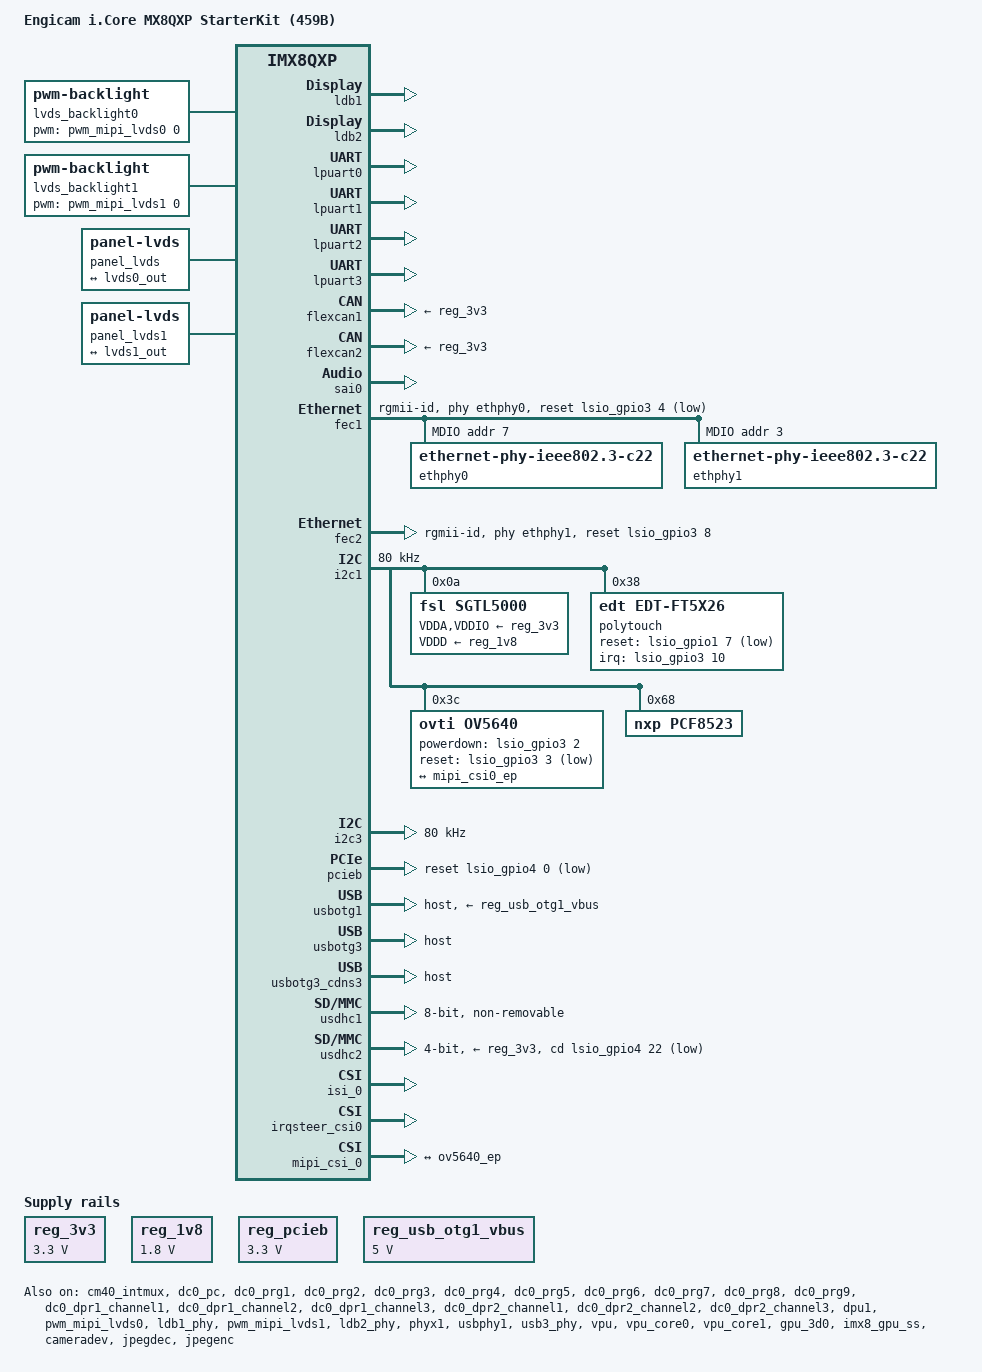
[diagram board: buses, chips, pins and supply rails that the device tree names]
// SPDX-License-Identifier: GPL-2.0+
/*
 * Copyright 2017-2020 NXP
 */

/dts-v1/;

#include "../freescale/imx8qxp.dtsi"
#include <dt-bindings/usb/pd.h>

/ {

	model = "Engicam i.Core MX8QXP StarterKit (459B)";
	compatible = "fsl,imx8qxp";

	chosen {
		stdout-path = &lpuart0;
	};

	lvds_backlight0: lvds_backlight@0 {
		compatible = "pwm-backlight";
		pwms = <&pwm_mipi_lvds0 0 100000 0>;

		brightness-levels = < 0  1  2  3  4  5  6  7  8  9
				     10 11 12 13 14 15 16 17 18 19
				     20 21 22 23 24 25 26 27 28 29
				     30 31 32 33 34 35 36 37 38 39
				     40 41 42 43 44 45 46 47 48 49
				     50 51 52 53 54 55 56 57 58 59
				     60 61 62 63 64 65 66 67 68 69
				     70 71 72 73 74 75 76 77 78 79
				     80 81 82 83 84 85 86 87 88 89
				     90 91 92 93 94 95 96 97 98 99
				    100>;
		default-brightness-level = <80>;
	};

	lvds_backlight1: lvds_backlight@1 {
		compatible = "pwm-backlight";
		pwms = <&pwm_mipi_lvds1 0 100000 0>;

		brightness-levels = < 0  1  2  3  4  5  6  7  8  9
				     10 11 12 13 14 15 16 17 18 19
				     20 21 22 23 24 25 26 27 28 29
				     30 31 32 33 34 35 36 37 38 39
				     40 41 42 43 44 45 46 47 48 49
				     50 51 52 53 54 55 56 57 58 59
				     60 61 62 63 64 65 66 67 68 69
				     70 71 72 73 74 75 76 77 78 79
				     80 81 82 83 84 85 86 87 88 89
				     90 91 92 93 94 95 96 97 98 99
				    100>;
		default-brightness-level = <80>;
	};

	/*memory@80000000 {
		device_type = "memory";
		reg = <0x00000000 0x80000000 0 0x40000000>;
	};*/


	reserved-memory {
		#address-cells = <2>;
		#size-cells = <2>;
		ranges;

		decoder_boot: decoder-boot@84000000 {
			reg = <0 0x84000000 0 0x2000000>;
			no-map;
		};

		encoder_boot: encoder-boot@86000000 {
			reg = <0 0x86000000 0 0x200000>;
			no-map;
		};

		decoder_rpc: decoder-rpc@92000000 {
			reg = <0 0x92000000 0 0x100000>;
			no-map;
		};

		encoder_rpc: encoder_reserved@94400000 {
			no-map;
			reg = <0 0x94400000 0 0x700000>;
		};
		/* global autoconfigured region for contiguous allocations */
		linux,cma {
			compatible = "shared-dma-pool";
			reusable;
			size = <0 0x3c000000>;
			alloc-ranges = <0 0x96000000 0 0x3c000000>;
			linux,cma-default;
		};
	};

	reg_3v3: regulator-3v3 {
		compatible = "regulator-fixed";
		regulator-name = "3v3";
		regulator-min-microvolt = <3300000>;
		regulator-max-microvolt = <3300000>;
		regulator-always-on;
	};

	reg_1v8: regulator-1v8 {
		compatible = "regulator-fixed";
		regulator-name = "1v8";
		regulator-min-microvolt = <1800000>;
		regulator-max-microvolt = <1800000>;
		regulator-always-on;
	};

	reg_pcieb: regulator-pcie {
		compatible = "regulator-fixed";
		regulator-name = "mpcie_3v3";
		regulator-min-microvolt = <3300000>;
		regulator-max-microvolt = <3300000>;
		enable-active-high;
		regulator-always-on;
	};

	reg_usb_otg1_vbus: regulator-usbotg1-vbus {
		compatible = "regulator-fixed";
		regulator-name = "usb_otg1_vbus";
		regulator-min-microvolt = <5000000>;
		regulator-max-microvolt = <5000000>;
		regulator-always-on;
	};

	sound {
		compatible = "simple-audio-card";
		simple-audio-card,name = "imx8qxp-sgtl5000";
		simple-audio-card,format = "i2s";
		simple-audio-card,bitclock-master = <&dailink_master>;
		simple-audio-card,frame-master = <&dailink_master>;
		simple-audio-card,cpu {
			sound-dai = <&sai0>;
		};

		dailink_master: simple-audio-card,codec {
		    sound-dai = <&sgtl5000>;
			clocks = <&mclkout0_lpcg 0>;
		};
	};

	imx8x_cm4: imx8x_cm4@0 {
		compatible = "fsl,imx8qxp-cm4";
		rsc-da = <0x90000000>;
		mbox-names = "tx", "rx", "rxdb";
		mboxes = <&lsio_mu5 0 1
			  &lsio_mu5 1 1
			  &lsio_mu5 3 1>;
		mub-partition = <3>;
		memory-region = <&vdev0vring0>, <&vdev0vring1>, <&vdevbuffer>,
				<&vdev1vring0>, <&vdev1vring1>;
		core-index = <0>;
		core-id = <IMX_SC_R_M4_0_PID0>;
		status = "okay";
		power-domains = <&pd IMX_SC_R_M4_0_PID0>,
				<&pd IMX_SC_R_M4_0_MU_1A>;
	};

	panel_lvds: panel-lvds {
		compatible = "panel-lvds";

		width-mm = <210>;
		height-mm = <158>;
		data-mapping = "vesa-24";
		status = "okay";

		panel-timing {
			/* 1024x600 @65Hz */
			clock-frequency = <65000000>;
			hactive = <1024>;
			vactive = <600>;
			hsync-len = <136>;
			hfront-porch = <20>;
			hback-porch = <160>;
			vfront-porch = <3>;
			vback-porch = <29>;
			vsync-len = <6>;
		};

		port {
			panel_in_lvds: endpoint {
				remote-endpoint = <&lvds0_out>;
			};
		};
	};

	panel_lvds1: panel-lvds1 {
		compatible = "panel-lvds";

		width-mm = <210>;
		height-mm = <158>;
		data-mapping = "jeida-24";
		status = "okay";

		panel-timing {
			/* 1024x800 @65Hz */
			clock-frequency = <65000000>;
			hactive = <1024>;
			vactive = <800>;
			hsync-len = <136>;
			hfront-porch = <20>;
			hback-porch = <160>;
			vfront-porch = <3>;
			vback-porch = <29>;
			vsync-len = <6>;
		};

		port {
			panel_in_lvds1: endpoint {
				remote-endpoint = <&lvds1_out>;
			};
		};
	};

	reserved-memory {
		#address-cells = <2>;
		#size-cells = <2>;
		ranges;

		vdev0vring0: vdev0vring0@90000000 {
                        compatible = "shared-dma-pool";
			reg = <0 0x90000000 0 0x8000>;
			no-map;
		};

		vdev0vring1: vdev0vring1@90008000 {
                        compatible = "shared-dma-pool";
			reg = <0 0x90008000 0 0x8000>;
			no-map;
		};

		vdev1vring0: vdev1vring0@90010000 {
                        compatible = "shared-dma-pool";
			reg = <0 0x90010000 0 0x8000>;
			no-map;
		};

		vdev1vring1: vdev1vring1@90018000 {
                        compatible = "shared-dma-pool";
			reg = <0 0x90018000 0 0x8000>;
			no-map;
		};

		vdevbuffer: vdevbuffer {
                        compatible = "shared-dma-pool";
			reg = <0 0x90400000 0 0x100000>;
			no-map;
		};
	};

};

&cm40_intmux {
	status = "okay";
};

&dc0_pc {
	status = "okay";
};

&dc0_prg1 {
	status = "okay";
};

&dc0_prg2 {
	status = "okay";

};

&dc0_prg3 {
	status = "okay";
};

&dc0_prg4 {
	status = "okay";
};

&dc0_prg5 {
	status = "okay";
};

&dc0_prg6 {
	status = "okay";
};

&dc0_prg7 {
	status = "okay";
};

&dc0_prg8 {
	status = "okay";
};

&dc0_prg9 {
	status = "okay";
};

&dc0_dpr1_channel1 {
	status = "okay";
};

&dc0_dpr1_channel2 {
	status = "okay";
};

&dc0_dpr1_channel3 {
	status = "okay";
};

&dc0_dpr2_channel1 {
	status = "okay";
};

&dc0_dpr2_channel2 {
	status = "okay";
};

&dc0_dpr2_channel3 {
	status = "okay";
};

&dpu1 {
	status = "okay";
};

&pwm_mipi_lvds0 {
	pinctrl-names = "default";
	pinctrl-0 = <&pinctrl_pwm_mipi_lvds0>;
	status = "okay";
};

&ldb1_phy {
	status = "okay";
};

&ldb1 {
	status = "okay";
	pinctrl-assert-gpios = <&lsio_gpio1 27 GPIO_ACTIVE_HIGH>;

	lvds-channel@0 {
		fsl,data-mapping = "spwg";
		fsl,data-width = <24>;
		status = "okay";

		port@1 {
			reg = <1>;

			lvds0_out: endpoint {
				remote-endpoint = <&panel_in_lvds>;
			};
		};
	};

};

&pwm_mipi_lvds1 {
	pinctrl-names = "default";
	pinctrl-0 = <&pinctrl_pwm_mipi_lvds1>;
	status = "okay";
};

&ldb2_phy {
	status = "okay";
};

&ldb2 {
	status = "okay";
	pinctrl-assert-gpios = <&lsio_gpio1 31 GPIO_ACTIVE_HIGH>;


	lvds-channel@0 {
		fsl,data-mapping = "jeida";
		fsl,data-width = <24>;
		status = "okay";

		port@1 {
			reg = <1>;

			lvds1_out: endpoint {
				remote-endpoint = <&panel_in_lvds1>;
			};
		};
	};
};

&lpuart0 {
	pinctrl-names = "default";
	pinctrl-0 = <&pinctrl_lpuart0>;
	status = "okay";
};

&lpuart1 {
	pinctrl-names = "default";
	pinctrl-0 = <&pinctrl_lpuart1>;
	fsl,uart-has-rtscts;
	rs485-rts-active-low;
	linux,rs485-enabled-at-boot-time;
	status = "okay";
};

&lpuart2 {
	pinctrl-names = "default";
	pinctrl-0 = <&pinctrl_lpuart2>;
	status = "okay";
};

&lpuart3 {
	pinctrl-names = "default";
	pinctrl-0 = <&pinctrl_lpuart3>;
	status = "okay";
};

&flexcan1 {
	pinctrl-names = "default";
	pinctrl-0 = <&pinctrl_flexcan1>;
	xceiver-supply = <&reg_3v3>;
	status = "okay";
};

&flexcan2 {
	pinctrl-names = "default";
	pinctrl-0 = <&pinctrl_flexcan2>;
	xceiver-supply = <&reg_3v3>;
	status = "okay";
};

&sai0 {
	#sound-dai-cells = <0>;
	assigned-clocks = <&clk IMX_SC_R_AUDIO_PLL_0 IMX_SC_PM_CLK_PLL>,
			<&clk IMX_SC_R_AUDIO_PLL_0 IMX_SC_PM_CLK_SLV_BUS>,
			<&clk IMX_SC_R_AUDIO_PLL_0 IMX_SC_PM_CLK_MST_BUS>,
			<&sai0_lpcg 0>;
	assigned-clock-rates = <786432000>, <49152000>, <12288000>, <49152000>;
	pinctrl-names = "default";
	pinctrl-0 = <&pinctrl_sai0>;
	status = "okay";
};

&fec1 {
	pinctrl-names = "default";
	pinctrl-0 = <&pinctrl_fec1>;
	phy-mode = "rgmii-id";
	phy-handle = <&ethphy0>;
	reset-gpio = <&lsio_gpio3 4 GPIO_ACTIVE_LOW>;
	status = "okay";

	mdio {
		#address-cells = <1>;
		#size-cells = <0>;

		ethphy0: ethernet-phy@7 {
			compatible = "ethernet-phy-ieee802.3-c22";
			reg = <7>;
			status = "okay";
			max-speed = <100>;
		};

		ethphy1: ethernet-phy@3 {
			compatible = "ethernet-phy-ieee802.3-c22";
			reg = <3>;
			status = "okay";
		};
	};
};

&fec2 {
	pinctrl-names = "default";
	pinctrl-0 = <&pinctrl_fec2>;
	phy-mode = "rgmii-id";
	phy-handle = <&ethphy1>;
	reset-gpio = <&lsio_gpio3 8 GPIO_ACTIVE_HIGH>;
	status = "okay";
};

&i2c1 {
	#address-cells = <1>;
	#size-cells = <0>;
	clock-frequency = <80000>;
	pinctrl-names = "default";
	pinctrl-0 = <&pinctrl_lpi2c1>;
	status = "okay";

	sgtl5000: codec@a {
		compatible = "fsl,sgtl5000";
		status = "okay";
		#sound-dai-cells = <0>;
		reg = <0x0a>;
		clocks = <&mclkout0_lpcg 0>;
		clock-names = "mclk";
		assigned-clocks = <&clk IMX_SC_R_AUDIO_PLL_0 IMX_SC_PM_CLK_PLL>,
				<&clk IMX_SC_R_AUDIO_PLL_0 IMX_SC_PM_CLK_SLV_BUS>,
				<&clk IMX_SC_R_AUDIO_PLL_0 IMX_SC_PM_CLK_MST_BUS>,
				<&mclkout0_lpcg 0>;
		assigned-clock-rates = <786432000>, <49152000>, <12288000>, <12288000>;
		VDDA-supply = <&reg_3v3>;
		VDDIO-supply = <&reg_3v3>;
		VDDD-supply = <&reg_1v8>;
	};

	polytouch: edt-ft5x26@38 {
		compatible = "edt,edt-ft5x26";
		reg = <0x38>;
		pinctrl-names = "default";
		pinctrl-0 = <&pinctrl_touch1>;
		interrupt-parent = <&lsio_gpio3>;
		interrupts = <10 IRQ_TYPE_EDGE_FALLING>;
		reset-gpios= <&lsio_gpio1 7 GPIO_ACTIVE_LOW>;
	};

	ov5640: ov5640@3c {
		compatible = "ovti,ov5640";
		reg = <0x3c>;
		pinctrl-names = "default";
		pinctrl-0 = <&pinctrl_mipi_csi0>;
		clocks = <&pi0_misc_lpcg 0>;
		assigned-clocks = <&pi0_misc_lpcg 0>;
		assigned-clock-rates = <24000000>;
		clock-names = "xclk";
		csi_id = <0>;
		powerdown-gpios = <&lsio_gpio3 2 GPIO_ACTIVE_HIGH>;
		reset-gpios = <&lsio_gpio3 3 GPIO_ACTIVE_LOW>;
		mclk = <24000000>;
		mclk_source = <0>;
		mipi_csi;
		status = "okay";

		port {
			ov5640_ep: endpoint {
				remote-endpoint = <&mipi_csi0_ep>;
				data-lanes = <1 2>;
				clock-lanes = <0>;
			};
		};
	};

	pcf8523: rtc@68 {
		compatible = "nxp,pcf8523";
		reg = <0x68>;
	};
};

&i2c3 {
	#address-cells = <1>;
	#size-cells = <0>;
	clock-frequency = <80000>;
	pinctrl-names = "default";
	pinctrl-0 = <&pinctrl_lpi2c3>;
	status = "okay";
};

&phyx1 {
	fsl,refclk-pad-mode = <IMX8_PCIE_REFCLK_PAD_INPUT>;
	status = "okay";
};

&pcieb {
	pinctrl-names = "default";
	pinctrl-0 = <&pinctrl_pcieb>;
	reset-gpio = <&lsio_gpio4 0 GPIO_ACTIVE_LOW>;
	vpcie-supply = <&reg_pcieb>;
	status = "okay";
};

&usbphy1 {
	status = "okay";
};

&usbotg1 {
	vbus-supply = <&reg_usb_otg1_vbus>;
	pinctrl-assert-gpios = <&lsio_gpio3 21 GPIO_ACTIVE_HIGH>; /* TBD da sistemare MM */
	srp-disable;
	hnp-disable;
	adp-disable;
	power-active-high;
	disable-over-current;
	dr_mode = "host";
	status = "okay";
};

&usb3_phy {
	status = "okay";
};

&usbotg3 {
	dr_mode = "host";
	status = "okay";
};

&usbotg3_cdns3 {
	dr_mode = "host";
	status = "okay";
};

&usdhc1 {
	pinctrl-names = "default", "state_100mhz", "state_200mhz";
	pinctrl-0 = <&pinctrl_usdhc1>;
	pinctrl-1 = <&pinctrl_usdhc1_100mhz>;
	pinctrl-2 = <&pinctrl_usdhc1_200mhz>;
	bus-width = <8>;
	no-sd;
	no-sdio;
	non-removable;
	status = "okay";
};

&usdhc2 {
	pinctrl-names = "default", "state_100mhz", "state_200mhz";
	pinctrl-0 = <&pinctrl_usdhc2>, <&pinctrl_usdhc2_gpio>;
	pinctrl-1 = <&pinctrl_usdhc2>, <&pinctrl_usdhc2_gpio>;
	pinctrl-2 = <&pinctrl_usdhc2>, <&pinctrl_usdhc2_gpio>;
	bus-width = <4>;
	vmmc-supply = <&reg_3v3>;
	no-1-8-v;
	cd-gpios = <&lsio_gpio4 22 GPIO_ACTIVE_LOW>;
	status = "okay";
};

&vpu {
	compatible = "nxp,imx8qxp-vpu";
	status = "okay";
};

&vpu_core0 {
	reg = <0x2d040000 0x10000>;
	memory-region = <&decoder_boot>, <&decoder_rpc>;
	status = "okay";
};

&vpu_core1 {
	reg = <0x2d050000 0x10000>;
	memory-region = <&encoder_boot>, <&encoder_rpc>;
	status = "okay";
};

&gpu_3d0 {
	status = "okay";
};

&imx8_gpu_ss {
	status = "okay";
};

&isi_0 {
	status = "okay";

	cap_device {
		status = "okay";
	};

	m2m_device {
		status = "okay";
	};
};

&irqsteer_csi0 {
	status = "okay";
};


&mipi_csi_0 {
	#address-cells = <1>;
	#size-cells = <0>;
	/delete-property/virtual-channel;
	status = "okay";

	/* Camera 0  MIPI CSI-2 (CSIS0) */
	port@0 {
		reg = <0>;
		mipi_csi0_ep: endpoint {
			remote-endpoint = <&ov5640_ep>;
			data-lanes = <1 2>;
		};
	};
};

&cameradev {
	status = "okay";
};

&jpegdec {
	status = "okay";
};

&jpegenc {
	status = "okay";
};

/*&thermal_zones {
	pmic-thermal0 {
		polling-delay-passive = <250>;
		polling-delay = <2000>;
		thermal-sensors = <&tsens 497>;
		trips {
			pmic_alert0: trip0 {
				temperature = <110000>;
				hysteresis = <2000>;
				type = "passive";
			};
			pmic_crit0: trip1 {
				temperature = <125000>;
				hysteresis = <2000>;
				type = "critical";
			};
		};
		cooling-maps {
			map0 {
				trip = <&pmic_alert0>;
				cooling-device =
					<&A35_0 THERMAL_NO_LIMIT THERMAL_NO_LIMIT>,
					<&A35_1 THERMAL_NO_LIMIT THERMAL_NO_LIMIT>,
					<&A35_2 THERMAL_NO_LIMIT THERMAL_NO_LIMIT>,
					<&A35_3 THERMAL_NO_LIMIT THERMAL_NO_LIMIT>;
			};
		};
	};
};*/

&iomuxc {
	pinctrl-names = "default";
	pinctrl-0 = <&pinctrl_hog>;

	pinctrl_hog: hoggrp {
		fsl,pins = <
			IMX8QXP_MCLK_OUT0_ADMA_ACM_MCLK_OUT0       0x0600004c
			IMX8QXP_COMP_CTL_GPIO_1V8_3V3_GPIORHB_PAD  0x000514a0
			IMX8QXP_MIPI_CSI0_GPIO0_00_LSIO_GPIO3_IO08 0x06000020 /* TDB MM RGMII2 reset */
			IMX8QXP_QSPI0B_DATA3_LSIO_GPIO3_IO21 0x06000020 /* TDB MM USB HUB reset */
		>;
	};

	pinctrl_touch1: touch1_intgrp {
		fsl,pins = <
			IMX8QXP_QSPI0A_DATA1_LSIO_GPIO3_IO10	0x06000020
			IMX8QXP_SPI0_CS1_LSIO_GPIO1_IO07 		0x06000020
		>;
	};

	pinctrl_fec1: fec1grp {
		fsl,pins = <
			IMX8QXP_COMP_CTL_GPIO_1V8_3V3_ENET_ENETB0_PAD		0x000014a0
			IMX8QXP_COMP_CTL_GPIO_1V8_3V3_ENET_ENETB1_PAD		0x000014a0
			IMX8QXP_ENET0_MDC_CONN_ENET0_MDC			0x06000020
			IMX8QXP_ENET0_MDIO_CONN_ENET0_MDIO			0x06000020
			IMX8QXP_ENET0_RGMII_TX_CTL_CONN_ENET0_RGMII_TX_CTL	0x00000061
			IMX8QXP_ENET0_RGMII_TXC_CONN_ENET0_RGMII_TXC		0x00000061
			IMX8QXP_ENET0_RGMII_TXD0_CONN_ENET0_RGMII_TXD0		0x00000061
			IMX8QXP_ENET0_RGMII_TXD1_CONN_ENET0_RGMII_TXD1		0x00000061
			IMX8QXP_ENET0_RGMII_TXD2_CONN_ENET0_RGMII_TXD2		0x00000061
			IMX8QXP_ENET0_RGMII_TXD3_CONN_ENET0_RGMII_TXD3		0x00000061
			IMX8QXP_ENET0_RGMII_RXC_CONN_ENET0_RGMII_RXC		0x00000061
			IMX8QXP_ENET0_RGMII_RX_CTL_CONN_ENET0_RGMII_RX_CTL	0x00000061
			IMX8QXP_ENET0_RGMII_RXD0_CONN_ENET0_RGMII_RXD0		0x00000061
			IMX8QXP_ENET0_RGMII_RXD1_CONN_ENET0_RGMII_RXD1		0x00000061
			IMX8QXP_ENET0_RGMII_RXD2_CONN_ENET0_RGMII_RXD2		0x00000061
			IMX8QXP_ENET0_RGMII_RXD3_CONN_ENET0_RGMII_RXD3		0x00000061
			IMX8QXP_MIPI_CSI0_MCLK_OUT_LSIO_GPIO3_IO04 0x06000020 /* Reset */
		>;
	};

	pinctrl_fec2: fec2grp {
		fsl,pins = <
			IMX8QXP_ESAI0_SCKR_CONN_ENET1_RGMII_TX_CTL	0x00000060
			IMX8QXP_ESAI0_FSR_CONN_ENET1_RGMII_TXC		0x00000060
			IMX8QXP_ESAI0_TX4_RX1_CONN_ENET1_RGMII_TXD0	0x00000060
			IMX8QXP_ESAI0_TX5_RX0_CONN_ENET1_RGMII_TXD1	0x00000060
			IMX8QXP_ESAI0_FST_CONN_ENET1_RGMII_TXD2		0x00000060
			IMX8QXP_ESAI0_SCKT_CONN_ENET1_RGMII_TXD3	0x00000060
			IMX8QXP_ESAI0_TX0_CONN_ENET1_RGMII_RXC		0x00000060
			IMX8QXP_SPDIF0_TX_CONN_ENET1_RGMII_RX_CTL	0x00000060
			IMX8QXP_SPDIF0_RX_CONN_ENET1_RGMII_RXD0		0x00000060
			IMX8QXP_ESAI0_TX3_RX2_CONN_ENET1_RGMII_RXD1	0x00000060
			IMX8QXP_ESAI0_TX2_RX3_CONN_ENET1_RGMII_RXD2	0x00000060
			IMX8QXP_ESAI0_TX1_CONN_ENET1_RGMII_RXD3		0x00000060
		>;
	};

	pinctrl_lpi2c1: lpi2c1grp {
		fsl,pins = <
			IMX8QXP_USB_SS3_TC1_ADMA_I2C1_SCL			0x06000021
			IMX8QXP_USB_SS3_TC3_ADMA_I2C1_SDA			0x06000021
		>;
	};

	pinctrl_lpi2c3: lpi2c3grp
	 {
		fsl,pins = <
			IMX8QXP_SPI3_CS1_ADMA_I2C3_SCL			0x06000020
			IMX8QXP_MCLK_IN1_ADMA_I2C3_SDA			0x06000020
		>;
	};


	pinctrl_flexcan1: flexcan0grp {
		fsl,pins = <
			IMX8QXP_FLEXCAN0_TX_ADMA_FLEXCAN0_TX            0x21
			IMX8QXP_FLEXCAN0_RX_ADMA_FLEXCAN0_RX            0x21
		>;
	};

	pinctrl_flexcan2: flexcan1grp {
		fsl,pins = <
			IMX8QXP_FLEXCAN1_TX_ADMA_FLEXCAN1_TX            0x21
			IMX8QXP_FLEXCAN1_RX_ADMA_FLEXCAN1_RX            0x21
			>;
	};

	pinctrl_lpuart0: lpuart0grp {
		fsl,pins = <
			IMX8QXP_UART0_RX_ADMA_UART0_RX				0x06000020
			IMX8QXP_UART0_TX_ADMA_UART0_TX				0x06000020
		>;
	};

	pinctrl_lpuart1: lpuart1grp {
		fsl,pins = <
			IMX8QXP_UART1_TX_ADMA_UART1_TX		0x06000020
			IMX8QXP_UART1_RX_ADMA_UART1_RX		0x06000020
			IMX8QXP_UART1_RTS_B_ADMA_UART1_RTS_B	0x06000020
			IMX8QXP_UART1_CTS_B_ADMA_UART1_CTS_B	0x06000020
		>;
	};

	pinctrl_lpuart2: lpuart2grp {
		fsl,pins = <
			IMX8QXP_UART2_TX_ADMA_UART2_TX		0x06000020
			IMX8QXP_UART2_RX_ADMA_UART2_RX		0x06000020
		>;
	};

	pinctrl_lpuart3: lpuart3grp {
		fsl,pins = <
			IMX8QXP_FLEXCAN2_TX_ADMA_UART3_TX	0x06000020
			IMX8QXP_FLEXCAN2_RX_ADMA_UART3_RX	0x06000020
		>;
	};

	pinctrl_pcieb: pcieagrp {
		fsl,pins = <
			IMX8QXP_PCIE_CTRL0_PERST_B_LSIO_GPIO4_IO00 0x06000020 // GPIO_C
			IMX8QXP_PCIE_CTRL0_WAKE_B_LSIO_GPIO4_IO02 0x06000020 // GPIO_D
		>;
	};

	pinctrl_pwm_mipi_lvds0: mipi_lvds0_pwm_grp {
		fsl,pins = <
			IMX8QXP_MIPI_DSI0_GPIO0_00_MIPI_DSI0_PWM0_OUT		0x00000020
		>;
	};

	pinctrl_pwm_mipi_lvds1: mipi_lvds1_pwm_grp {
		fsl,pins = <
			IMX8QXP_MIPI_DSI1_GPIO0_00_MIPI_DSI1_PWM0_OUT		0x00000020
		>;
	};

	pinctrl_sai0: sai0grp {
		fsl,pins = <
			IMX8QXP_SAI0_TXD_ADMA_SAI0_TXD		0x06000060
			IMX8QXP_SAI0_RXD_ADMA_SAI0_RXD		0x06000040
			IMX8QXP_SAI0_TXC_ADMA_SAI0_TXC		0x06000040
			IMX8QXP_SAI0_TXFS_ADMA_SAI0_TXFS	0x06000040
		>;
	};

	pinctrl_usdhc1: usdhc1grp {
		fsl,pins = <
			IMX8QXP_EMMC0_CLK_CONN_EMMC0_CLK			0x06000041
			IMX8QXP_EMMC0_CMD_CONN_EMMC0_CMD			0x00000021
			IMX8QXP_EMMC0_DATA0_CONN_EMMC0_DATA0			0x00000021
			IMX8QXP_EMMC0_DATA1_CONN_EMMC0_DATA1			0x00000021
			IMX8QXP_EMMC0_DATA2_CONN_EMMC0_DATA2			0x00000021
			IMX8QXP_EMMC0_DATA3_CONN_EMMC0_DATA3			0x00000021
			IMX8QXP_EMMC0_DATA4_CONN_EMMC0_DATA4			0x00000021
			IMX8QXP_EMMC0_DATA5_CONN_EMMC0_DATA5			0x00000021
			IMX8QXP_EMMC0_DATA6_CONN_EMMC0_DATA6			0x00000021
			IMX8QXP_EMMC0_DATA7_CONN_EMMC0_DATA7			0x00000021
			IMX8QXP_EMMC0_STROBE_CONN_EMMC0_STROBE			0x00000041
		>;
	};

	pinctrl_usdhc1_100mhz: usdhc1grp100mhz {
		fsl,pins = <
			IMX8QXP_EMMC0_CLK_CONN_EMMC0_CLK		0x06000040
			IMX8QXP_EMMC0_CMD_CONN_EMMC0_CMD		0x00000020
			IMX8QXP_EMMC0_DATA0_CONN_EMMC0_DATA0	0x00000020
			IMX8QXP_EMMC0_DATA1_CONN_EMMC0_DATA1	0x00000020
			IMX8QXP_EMMC0_DATA2_CONN_EMMC0_DATA2	0x00000020
			IMX8QXP_EMMC0_DATA3_CONN_EMMC0_DATA3	0x00000020
			IMX8QXP_EMMC0_DATA4_CONN_EMMC0_DATA4	0x00000020
			IMX8QXP_EMMC0_DATA5_CONN_EMMC0_DATA5	0x00000020
			IMX8QXP_EMMC0_DATA6_CONN_EMMC0_DATA6	0x00000020
			IMX8QXP_EMMC0_DATA7_CONN_EMMC0_DATA7	0x00000020
			IMX8QXP_EMMC0_STROBE_CONN_EMMC0_STROBE	0x06000040
		>;
	};

	pinctrl_usdhc1_200mhz: usdhc1grp200mhz {
		fsl,pins = <
			IMX8QXP_EMMC0_CLK_CONN_EMMC0_CLK		0x06000040
			IMX8QXP_EMMC0_CMD_CONN_EMMC0_CMD		0x00000020
			IMX8QXP_EMMC0_DATA0_CONN_EMMC0_DATA0	0x00000020
			IMX8QXP_EMMC0_DATA1_CONN_EMMC0_DATA1	0x00000020
			IMX8QXP_EMMC0_DATA2_CONN_EMMC0_DATA2	0x00000020
			IMX8QXP_EMMC0_DATA3_CONN_EMMC0_DATA3	0x00000020
			IMX8QXP_EMMC0_DATA4_CONN_EMMC0_DATA4	0x00000020
			IMX8QXP_EMMC0_DATA5_CONN_EMMC0_DATA5	0x00000020
			IMX8QXP_EMMC0_DATA6_CONN_EMMC0_DATA6	0x00000020
			IMX8QXP_EMMC0_DATA7_CONN_EMMC0_DATA7	0x00000020
			IMX8QXP_EMMC0_STROBE_CONN_EMMC0_STROBE	0x06000040
		>;
	};

	pinctrl_usdhc2_gpio: usdhc2gpiogrp {
		fsl,pins = <
			IMX8QXP_USDHC1_RESET_B_LSIO_GPIO4_IO19     0x00000021
			IMX8QXP_USDHC1_WP_LSIO_GPIO4_IO21          0x00000021
			IMX8QXP_USDHC1_CD_B_LSIO_GPIO4_IO22        0x00000021
		>;
	};


	pinctrl_usdhc2: usdhc2grp {
		fsl,pins = <
			IMX8QXP_USDHC1_CLK_CONN_USDHC1_CLK			0x06000041
			IMX8QXP_USDHC1_CMD_CONN_USDHC1_CMD			0x00000021
			IMX8QXP_USDHC1_DATA0_CONN_USDHC1_DATA0			0x00000021
			IMX8QXP_USDHC1_DATA1_CONN_USDHC1_DATA1			0x00000021
			IMX8QXP_USDHC1_DATA2_CONN_USDHC1_DATA2			0x00000021
			IMX8QXP_USDHC1_DATA3_CONN_USDHC1_DATA3			0x00000021
			IMX8QXP_USDHC1_VSELECT_CONN_USDHC1_VSELECT		0x00000021
		>;
	};

	pinctrl_mipi_csi0: mipi_csi0 {
		fsl,pins = <
			IMX8QXP_MIPI_CSI0_GPIO0_01_LSIO_GPIO3_IO07		0xC0000041
		>;
	};
};
